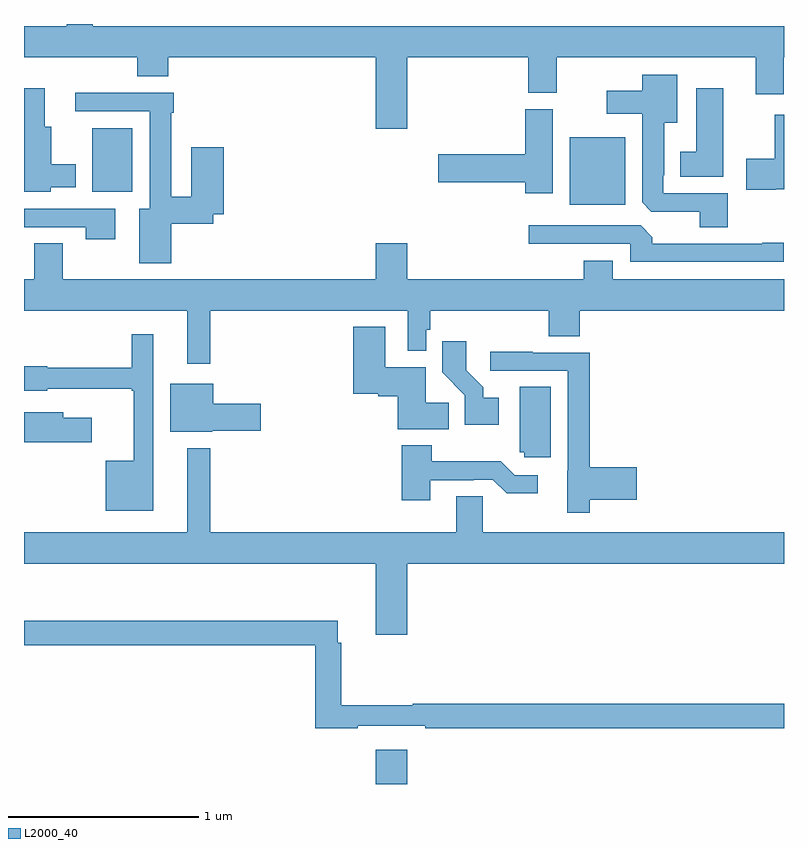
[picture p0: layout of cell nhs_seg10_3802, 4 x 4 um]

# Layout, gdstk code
import gdstk
lib = gdstk.Library(unit=1e-6, precision=1e-09)
def R(c, l, rs):  # rectangles x0, y0, x1, y1
    for r in rs: c.add(gdstk.rectangle(r[:2], r[2:], *l))
def P(c, l, *ps):  # polygons
    for p in ps: c.add(gdstk.Polygon(p, *l))
L2000_40 = (2000, 40)

nhs_seg10_3802 = lib.new_cell('nhs_seg10_3802')
R(nhs_seg10_3802, L2000_40, [(320.852,1288.5,321.016,1288.681), (321.872,1291.55,322.165,1291.903), (319.358,1291.616,319.57,1291.951)])
P(nhs_seg10_3802, L2000_40, [(319.225,1292.5),(319.225,1292.488),(319,1292.488),(319,1292.324),(319.595,1292.324),(319.595,1292.225),(319.76,1292.225),(319.76,1292.324),(320.852,1292.324),(320.852,1291.95),(321.016,1291.95),(321.016,1292.324),(321.653,1292.324),(321.653,1292.137),(321.805,1292.137),(321.805,1292.324),(322.85,1292.324),(322.85,1292.13),(322.998,1292.13),(322.998,1292.324),(323,1292.324),(323,1292.488),(319.361,1292.488),(319.361,1292.5)],
  [(322.704,1291.608),(322.365,1291.608),(322.365,1291.705),(322.369,1291.705),(322.369,1291.979),(322.438,1291.979),(322.438,1292.233),(322.253,1292.233),(322.253,1292.149),(322.068,1292.149),(322.068,1292.027),(322.253,1292.027),(322.253,1291.561),(322.302,1291.512),(322.556,1291.512),(322.556,1291.429),(322.704,1291.429)],
  [(319.14,1291.64),(319.273,1291.64),(319.273,1291.762),(319.144,1291.762),(319.144,1291.96),(319.108,1291.96),(319.108,1292.161),(319,1292.161),(319,1291.616),(319.14,1291.616)],
  [(322.681,1292.161),(322.538,1292.161),(322.538,1291.828),(322.454,1291.828),(322.454,1291.697),(322.681,1291.697)],
  [(319.774,1291.45),(319.996,1291.45),(319.996,1291.499),(320.051,1291.499),(320.051,1291.852),(319.88,1291.852),(319.88,1291.592),(319.774,1291.592),(319.774,1292.033),(319.787,1292.033),(319.787,1292.138),(319.269,1292.138),(319.269,1292.04),(319.661,1292.04),(319.661,1291.528),(319.607,1291.528),(319.607,1291.242),(319.774,1291.242)],
  [(321.784,1292.052),(321.638,1292.052),(321.638,1291.814),(321.18,1291.814),(321.18,1291.667),(321.638,1291.667),(321.638,1291.608),(321.784,1291.608)],
  [(322.956,1291.629),(323,1291.629),(323,1292.023),(322.952,1292.023),(322.952,1291.791),(322.8,1291.791),(322.8,1291.628),(322.956,1291.628)],
  [(319.48,1291.527),(319,1291.527),(319,1291.431),(319.324,1291.431),(319.324,1291.368),(319.48,1291.368)],
  [(322.999,1291.349),(322.886,1291.349),(322.886,1291.344),(322.307,1291.344),(322.307,1291.378),(322.245,1291.44),(321.657,1291.44),(321.657,1291.344),(322.191,1291.344),(322.191,1291.248),(322.999,1291.248)],
  [(319.981,1290.992),(321.021,1290.992),(321.021,1290.779),(321.117,1290.779),(321.117,1290.891),(321.137,1290.891),(321.137,1290.992),(321.761,1290.992),(321.761,1290.856),(321.926,1290.856),(321.926,1290.992),(323,1290.992),(323,1291.156),(322.099,1291.156),(322.099,1291.255),(321.947,1291.255),(321.947,1291.156),(321.016,1291.156),(321.016,1291.345),(320.852,1291.345),(320.852,1291.156),(319.203,1291.156),(319.203,1291.346),(319.055,1291.346),(319.055,1291.156),(319,1291.156),(319,1290.992),(319.859,1290.992),(319.859,1290.711),(319.981,1290.711)],
  [(321.236,1290.506),(321.115,1290.506),(321.115,1290.694),(320.902,1290.694),(320.902,1290.907),(320.732,1290.907),(320.732,1290.554),(320.865,1290.554),(320.865,1290.542),(320.966,1290.542),(320.966,1290.368),(321.236,1290.368)],
  [(319.681,1290.868),(319.567,1290.868),(319.567,1290.691),(319.122,1290.691),(319.122,1290.699),(319,1290.699),(319,1290.569),(319.122,1290.569),(319.122,1290.581),(319.567,1290.581),(319.567,1290.57),(319.577,1290.57),(319.577,1290.202),(319.43,1290.202),(319.43,1289.939),(319.681,1289.939)],
  [(321.499,1290.532),(321.418,1290.532),(321.418,1290.587),(321.328,1290.677),(321.328,1290.829),(321.202,1290.829),(321.202,1290.666),(321.321,1290.547),(321.321,1290.392),(321.499,1290.392)],
  [(321.977,1289.996),(322.225,1289.996),(322.225,1290.167),(321.977,1290.167),(321.977,1290.771),(321.677,1290.771),(321.677,1290.774),(321.453,1290.774),(321.453,1290.675),(321.861,1290.675),(321.861,1290.15),(321.86,1290.15),(321.86,1289.928),(321.977,1289.928)],
  [(319.992,1290.359),(320.245,1290.359),(320.245,1290.501),(319.996,1290.501),(319.996,1290.607),(319.769,1290.607),(319.769,1290.353),(319.992,1290.353)],
  [(321.772,1290.59),(321.608,1290.59),(321.608,1290.246),(321.633,1290.246),(321.633,1290.219),(321.772,1290.219)],
  [(319.357,1290.427),(319.207,1290.427),(319.207,1290.456),(319,1290.456),(319,1290.298),(319.357,1290.298)],
  [(321.139,1290.099),(321.368,1290.099),(321.368,1290.102),(321.468,1290.102),(321.541,1290.029),(321.703,1290.029),(321.703,1290.126),(321.582,1290.126),(321.509,1290.199),(321.147,1290.199),(321.147,1290.283),(320.987,1290.283),(320.987,1289.994),(321.139,1289.994)],
  [(321.016,1289.66),(323,1289.66),(323,1289.824),(321.414,1289.824),(321.414,1290.014),(321.275,1290.014),(321.275,1289.824),(319.981,1289.824),(319.981,1290.268),(319.859,1290.268),(319.859,1289.824),(319,1289.824),(319,1289.66),(320.852,1289.66),(320.852,1289.286),(321.016,1289.286)],
  [(320.756,1288.806),(321.112,1288.806),(321.112,1288.794),(323,1288.794),(323,1288.922),(321.046,1288.922),(321.046,1288.915),(320.669,1288.915),(320.669,1289.243),(320.651,1289.243),(320.651,1289.359),(319,1289.359),(319,1289.23),(320.533,1289.23),(320.533,1288.794),(320.756,1288.794)])

lib.write_gds('nhs_seg10_3802.gds')
